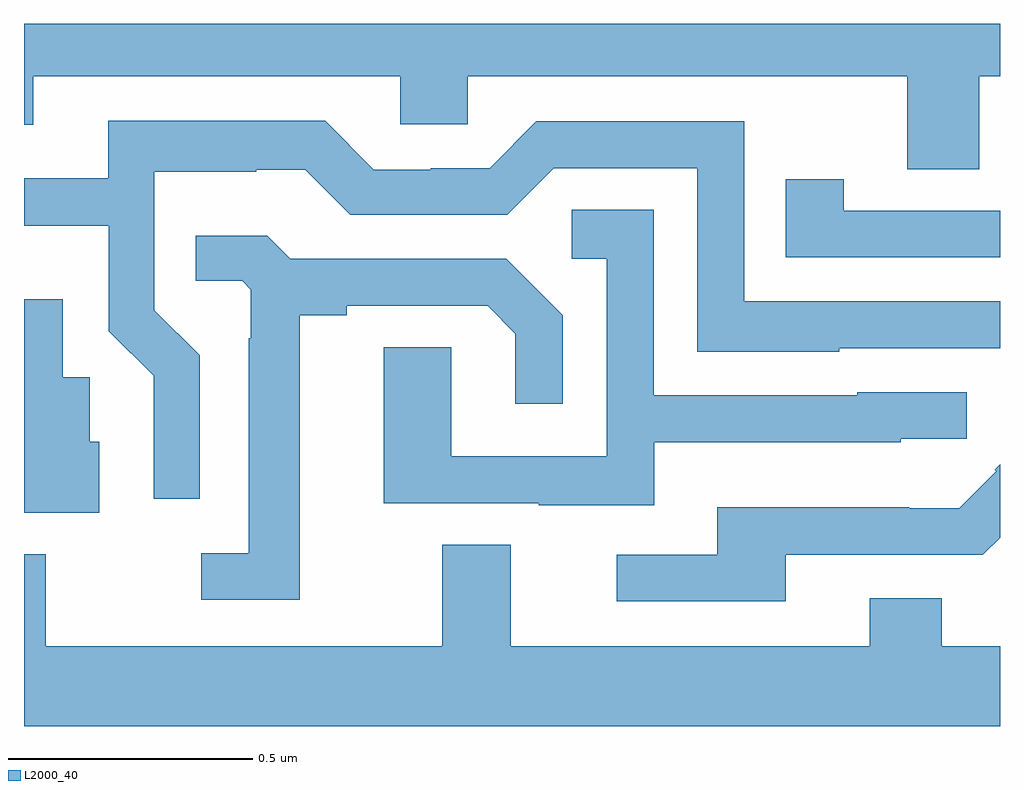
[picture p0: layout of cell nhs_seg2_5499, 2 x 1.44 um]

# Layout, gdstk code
import gdstk
lib = gdstk.Library(unit=1e-6, precision=1e-09)
def P(c, l, *ps):  # polygons
    for p in ps: c.add(gdstk.Polygon(p, *l))
L2000_40 = (2000, 40)

nhs_seg2_5499 = lib.new_cell('nhs_seg2_5499')
P(nhs_seg2_5499, L2000_40, [(181.957,591.692),(182,591.692),(182,591.8),(180,591.8),(180,591.593),(180.019,591.593),(180.019,591.692),(180.771,591.692),(180.771,591.594),(180.909,591.594),(180.909,591.692),(181.81,591.692),(181.81,591.502),(181.957,591.502)],
  [(180.36,591.12),(180.267,591.213),(180.267,591.497),(180.476,591.497),(180.476,591.501),(180.576,591.501),(180.669,591.408),(180.99,591.408),(181.086,591.504),(181.38,591.504),(181.38,591.128),(181.671,591.128),(181.671,591.135),(182,591.135),(182,591.231),(181.476,591.231),(181.476,591.6),(181.05,591.6),(180.954,591.504),(180.834,591.504),(180.834,591.501),(180.717,591.501),(180.617,591.601),(180.173,591.601),(180.173,591.483),(180,591.483),(180,591.386),(180.174,591.386),(180.174,591.17),(180.266,591.078),(180.266,590.826),(180.36,590.826)],
  [(182,591.417),(181.68,591.417),(181.68,591.481),(181.561,591.481),(181.561,591.321),(182,591.321)],
  [(181.291,590.942),(181.797,590.942),(181.797,590.949),(181.932,590.949),(181.932,591.045),(181.707,591.045),(181.707,591.039),(181.29,591.039),(181.29,591.419),(181.122,591.419),(181.122,591.318),(181.194,591.318),(181.194,590.913),(180.876,590.913),(180.876,591.137),(180.737,591.137),(180.737,590.817),(181.055,590.817),(181.055,590.813),(181.291,590.813)],
  [(180.565,591.202),(180.661,591.202),(180.661,591.222),(180.95,591.222),(181.007,591.165),(181.007,591.021),(181.104,591.021),(181.104,591.202),(180.988,591.318),(180.546,591.318),(180.498,591.365),(180.352,591.365),(180.352,591.273),(180.447,591.273),(180.465,591.255),(180.465,591.155),(180.461,591.155),(180.461,590.715),(180.363,590.715),(180.363,590.619),(180.565,590.619)],
  [(180.154,590.943),(180.135,590.943),(180.135,591.075),(180.079,591.075),(180.079,591.235),(180,591.235),(180,590.798),(180.154,590.798)],
  [(181.561,590.712),(181.965,590.712),(182,590.747),(182,590.897),(181.989,590.886),(181.992,590.883),(181.916,590.807),(181.814,590.807),(181.814,590.809),(181.421,590.809),(181.421,590.712),(181.215,590.712),(181.215,590.616),(181.561,590.616)],
  [(182,590.524),(181.881,590.524),(181.881,590.623),(181.733,590.623),(181.733,590.524),(180.997,590.524),(180.997,590.732),(180.857,590.732),(180.857,590.524),(180.045,590.524),(180.045,590.713),(180,590.713),(180,590.36),(182,590.36)])

lib.write_gds('nhs_seg2_5499.gds')
